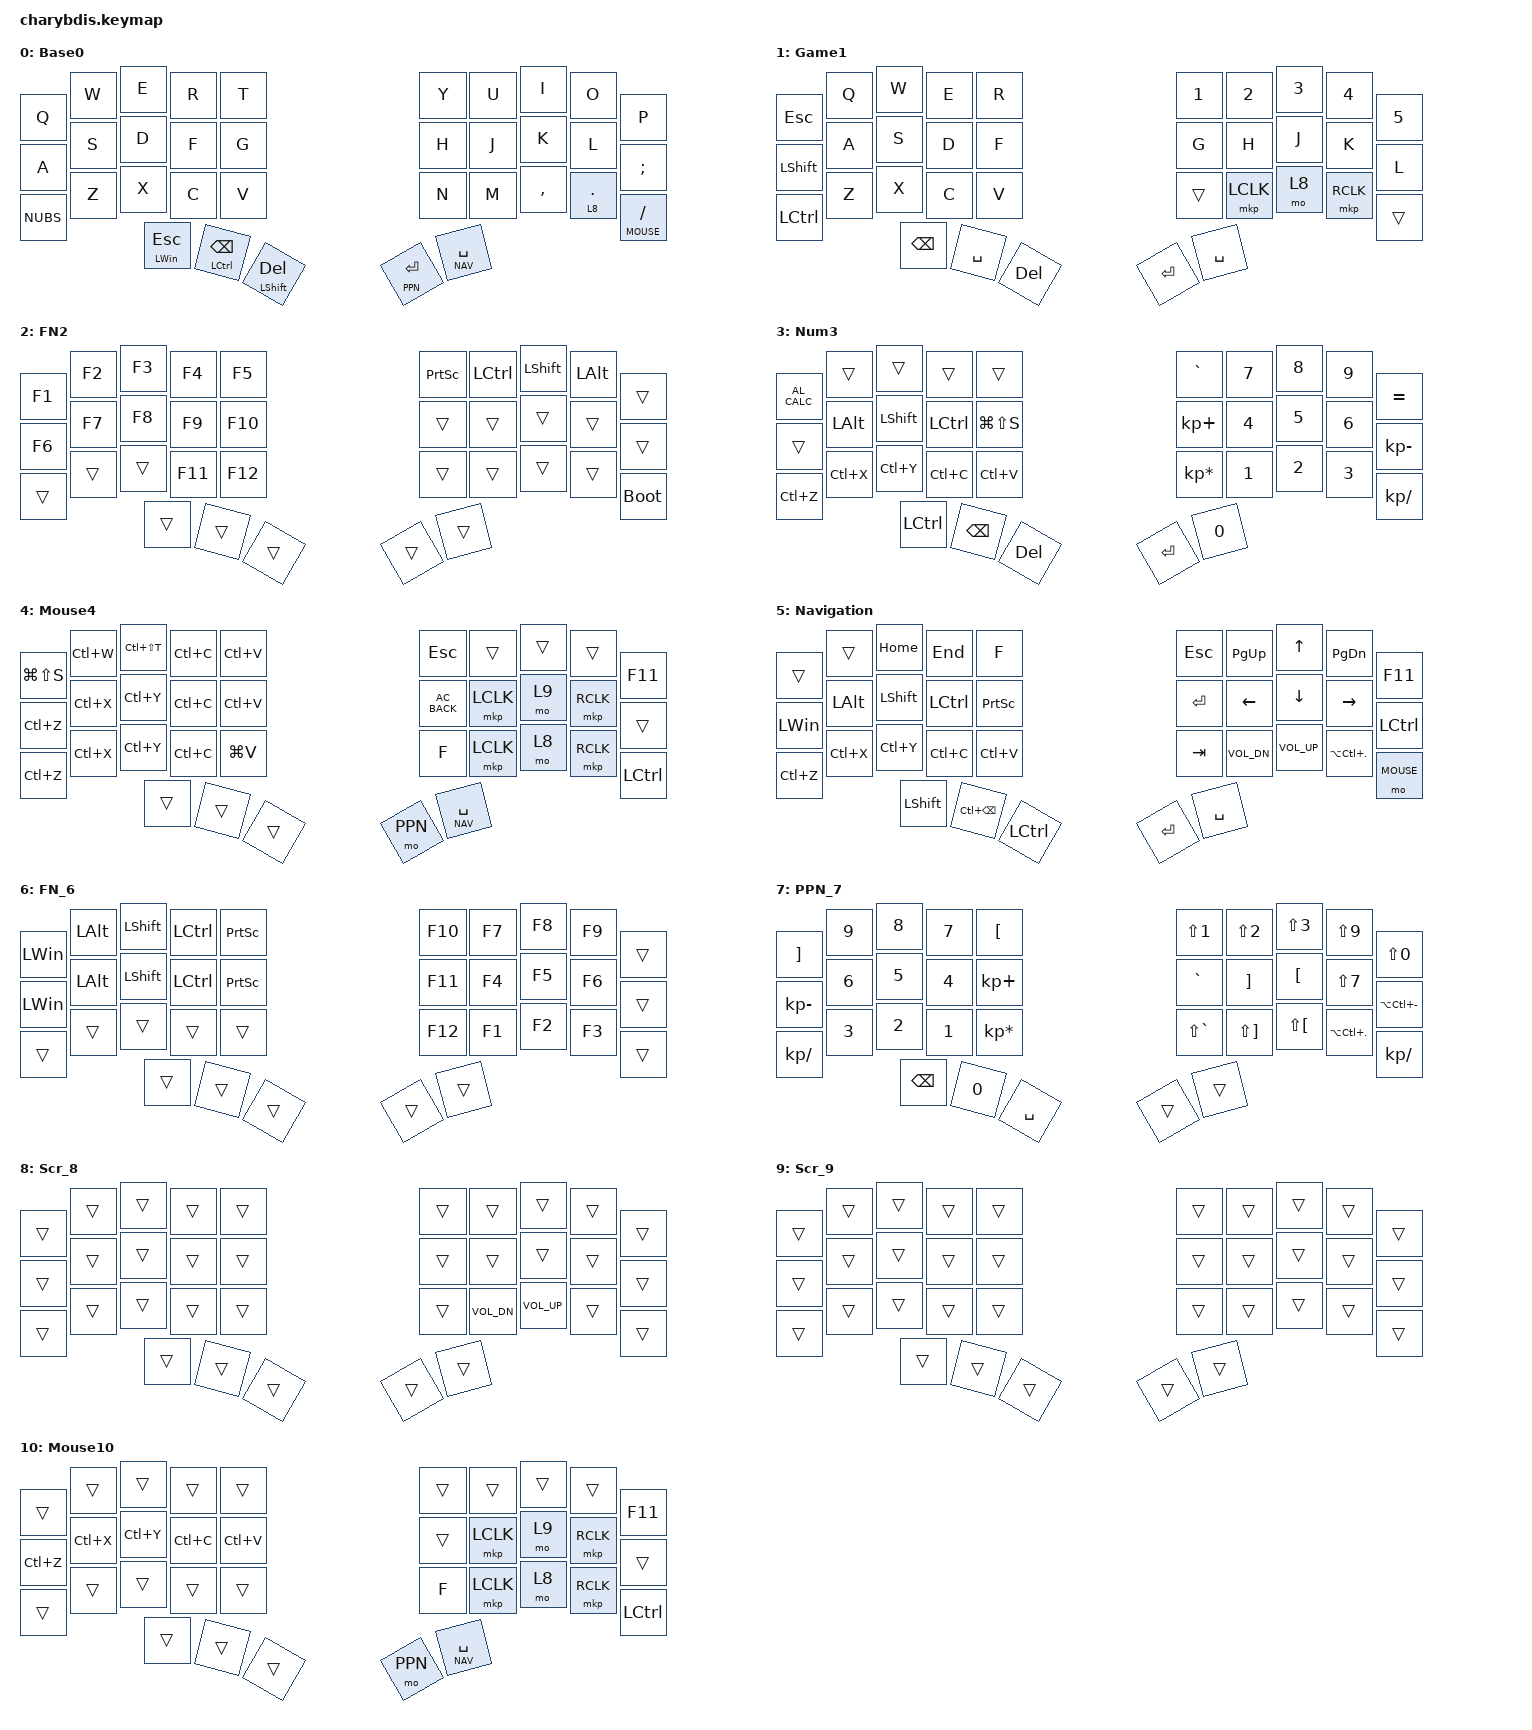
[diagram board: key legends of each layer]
#include <behaviors.dtsi>  
#include <dt-bindings/zmk/keys.h>
#include <dt-bindings/zmk/pointing.h>

#define BASE  0
#define GAME  1
#define FN    2
#define NUM   3
#define MOUSE 4
#define NAV   5
#define PPN   7

#define KEYS_L 0 1 2 3 4 10 11 12 13 14 20 21 22 23 24  
#define KEYS_R 5 6 7 8 9 15 16 17 18 19 25 26 27 28 29
#define THUMBS 30 31 32 33 34 35  

&sk {
  release-after-ms = <600>;
  quick-release;
};

&sl {
  ignore-modifiers;
};

&mt {
  flavor = "tap-preferred";
};

&lt {
  flavor = "balanced";
  tapping-term-ms = <200>;
  quick-tap-ms = <175>;
};

&caps_word {
  /delete-property/ ignore-modifiers;
};

/ {
  behaviors {
    hml: hml {
      compatible = "zmk,behavior-hold-tap";
      #binding-cells = <2>;
      flavor = "balanced";
      tapping-term-ms = <2000>;
      quick-tap-ms = <175>;
      require-prior-idle-ms = <250>;
      hold-trigger-key-positions = <KEYS_R THUMBS>;
      hold-trigger-on-release;
      bindings =
        <&kp>,
        <&kp>;
    };

    hmr: hmr {
      compatible = "zmk,behavior-hold-tap";
      #binding-cells = <2>;
      flavor = "balanced";
      tapping-term-ms = <2000>;
      quick-tap-ms = <175>;
      require-prior-idle-ms = <250>;
      hold-trigger-key-positions = <KEYS_L THUMBS>;
      hold-trigger-on-release;
      bindings =
        <&kp>,
        <&kp>;
    };
    hml_s: hml_s {
      compatible = "zmk,behavior-hold-tap";
      #binding-cells = <2>;
      flavor = "balanced";
      tapping-term-ms = <2000>;
      quick-tap-ms = <175>;
      require-prior-idle-ms = <0>;
      hold-trigger-key-positions = <KEYS_R THUMBS>;
      hold-trigger-on-release;
      bindings =
        <&kp>,
        <&kp>;
    };

    hmr_s: hmr_s {
      compatible = "zmk,behavior-hold-tap";
      #binding-cells = <2>;
      flavor = "balanced";
      tapping-term-ms = <2000>;
      quick-tap-ms = <175>;
      require-prior-idle-ms = <0>;
      hold-trigger-key-positions = <KEYS_L THUMBS>;
      hold-trigger-on-release;
      bindings =
        <&kp>,
        <&kp>;
    };


    smart_shift: smart_shift {
      compatible = "zmk,behavior-mod-morph";
      #binding-cells = <0>;
      bindings = <&sk LSHIFT>, <&caps_word>;
      mods = <(MOD_LSFT)>;
    };
  };

  combos {
    compatible = "zmk,combos";
    timeout-ms = <20>;
    require-prior-idle-ms = <250>;

   
    combo_normal {
      key-positions = <6 7 8>;
      bindings = <&to BASE>;
    };
    combo_normalleft {
      key-positions = <1 2 3>;
      bindings = <&to BASE>;
    };
    combo_unlock {
      key-positions = <0 4>;
      bindings = <&studio_unlock>;
    };
        screenshot {
        bindings = <&kp LG(LS(S))>;
        key-positions = <3 4>;
        };

        eng {
            bindings = <&kp F16>;
            key-positions = <13 14>;
        };

        rus {
            bindings = <&kp F17>;
            key-positions = <15 16>;
        };

        ParaLeft {
            bindings = <&kp LS(N9)>;
            key-positions = <23 24>;
        };

        greatt {
            bindings = <&kp LC(LA(P))>;
            key-positions = <25 26>;
        };

        circumflex {
            bindings = <&kp LS(N6)>;
            key-positions = <5 6>;
        };

        bootloaderRight {
            bindings = <&bootloader>;
            key-positions = <9 18 27>;
        };

        bootloaderLeft {
            bindings = <&bootloader>;
            key-positions = <0 11 22>;
        };

        gomouse {
            bindings = <&tog MOUSE>;
            key-positions = <15 26>;
        };

        game {
            bindings = <&tog 1>;
            key-positions = <18 29>;
        };
        
        gameleft {
            bindings = <&tog 1>;
            key-positions = <0 24>;
        };
        GoNav {
            bindings = <&tog 5>;
            key-positions = <5 16>;
        };
        GoScroll {
            bindings = <&tog 8>;
            key-positions = <16 25>;
        };
        GoNumPPN {
            bindings = <&tog PPN>;
            key-positions = <1 2 4>;
        };
        fullscree {
            bindings = <&kp F11>;
            key-positions = <6 15>;
        };
        fullscreenLeft {
            bindings = <&kp F11>;
            key-positions = <3 14>;
        };
  };
  chosen {
    zmk,physical-layout = &charybdis_5col_layout;
  };

  keymap {
    compatible = "zmk,keymap";

   Base {
            display-name = "Base0";
            bindings = <
            // ╭─────────────┬─────────────┬─────────────┬─────────────┬─────────────╮Bse╭─────────────┬─────────────┬─────────────┬─────────────┬─────────────╮
                    &kp Q         &kp W         &kp E         &kp R         &kp T             &kp Y         &kp U         &kp I         &kp O         &kp P
            // ├─────────────┼─────────────┼─────────────┼─────────────┼─────────────┤ 0 ├─────────────┼─────────────┼─────────────┼─────────────┼─────────────┤
                    &kp A         &kp S         &kp D         &kp F         &kp G             &kp H         &kp J         &kp K         &kp L        &kp SEMI
            // ├─────────────┼─────────────┼─────────────┼─────────────┼─────────────┤Bse├─────────────┼─────────────┼─────────────┼─────────────┼─────────────┤
                   &kp NUBS       &kp Z         &kp X         &kp C         &kp V             &kp N         &kp M       &kp COMMA     &lt 8 DOT   &lt MOUSE FSLH
            // ╰─────────────┴─────────────┼─────────────┼─────────────┼─────────────┤ 0 ├─────────────┼─────────────┼─────────────┴─────────────┴─────────────╯
                                            &mt LWIN ESC &mt LCTRL BSPC &mt LSHFT DEL      &lt PPN RET  &lt NAV SPACE
            //                             ╰─────────────┴─────────────┴─────────────╯Bse╰─────────────┴─────────────╯

            >;
    };

    
        Game {
            display-name = "Game1";
            bindings = <
            // ╭─────────────┬─────────────┬─────────────┬─────────────┬─────────────╮Gam╭─────────────┬─────────────┬─────────────┬─────────────┬─────────────╮
                   &kp ESC        &kp Q         &kp W         &kp E         &kp R             &kp N1        &kp N2        &kp N3        &kp N4        &kp N5
            // ├─────────────┼─────────────┼─────────────┼─────────────┼─────────────┤ 1 ├─────────────┼─────────────┼─────────────┼─────────────┼─────────────┤
                  &kp LSHFT       &kp A         &kp S         &kp D         &kp F             &kp G         &kp H         &kp J         &kp K         &kp L
            // ├─────────────┼─────────────┼─────────────┼─────────────┼─────────────┤Gam├─────────────┼─────────────┼─────────────┼─────────────┼─────────────┤
                  &kp LCTRL       &kp Z         &kp X         &kp C         &kp V             &trans      &mkp LCLK       &mo 8       &mkp RCLK       &trans
            // ╰─────────────┴─────────────┼─────────────┼─────────────┼─────────────┤ 1 ├─────────────┼─────────────┼─────────────┴─────────────┴─────────────╯
                                               &kp BSPC     &kp SPACE      &kp DEL           &kp RET      &kp SPACE
            //                             ╰─────────────┴─────────────┴─────────────╯Gam╰─────────────┴─────────────╯
            >;
        };

        FN {
            display-name = "FN2";
            bindings = <
            // ╭─────────────┬─────────────┬─────────────┬─────────────┬─────────────╮F11╭─────────────┬─────────────┬─────────────┬─────────────┬─────────────╮
                    &kp F1        &kp F2        &kp F3        &kp F4        &kp F5          &kp PSCRN     &kp LCTRL     &kp LSHFT      &kp LALT       &trans
            // ├─────────────┼─────────────┼─────────────┼─────────────┼─────────────┤ 2 ├─────────────┼─────────────┼─────────────┼─────────────┼─────────────┤
                    &kp F6        &kp F7        &kp F8        &kp F9       &kp F10            &trans        &trans        &trans        &trans        &trans
            // ├─────────────┼─────────────┼─────────────┼─────────────┼─────────────┤F11├─────────────┼─────────────┼─────────────┼─────────────┼─────────────┤
                    &trans        &trans        &trans       &kp F11       &kp F12            &trans        &trans        &trans        &trans     &bootloader      
            // ╰─────────────┴─────────────┼─────────────┼─────────────┼─────────────┤ 2 ├─────────────┼─────────────┼─────────────┴─────────────┴─────────────╯
                                                &trans        &trans        &trans            &trans        &trans    
            //                             ╰─────────────┴─────────────┴─────────────╯F11╰─────────────┴─────────────╯
            >;
        };

        Num {
            display-name = "Num3";
            bindings = <
            // ╭─────────────┬─────────────┬─────────────┬─────────────┬─────────────╮Num╭─────────────┬─────────────┬─────────────┬─────────────┬─────────────╮
                &kp C_AL_CALC     &trans        &trans        &trans        &trans          &kp GRAVE       &kp N7        &kp N8        &kp N9      &kp EQUAL
            // ├─────────────┼─────────────┼─────────────┼─────────────┼─────────────┤ 3 ├─────────────┼─────────────┼─────────────┼─────────────┼─────────────┤
                    &trans       &kp LALT     &kp LSHFT     &kp LCTRL   &kp LG(LS(S))      &kp KP_PLUS      &kp N4        &kp N5        &kp N6    &kp KP_MINUS
            // ├─────────────┼─────────────┼─────────────┼─────────────┼─────────────┤Num├─────────────┼─────────────┼─────────────┼─────────────┼─────────────┤
                  &kp LC(Z)     &kp LC(X)     &kp LC(Y)     &kp LC(C)     &kp LC(V)      &kp KP_MULTIPLY    &kp N1        &kp N2        &kp N3    &kp KP_SLASH
            // ╰─────────────┴─────────────┼─────────────┼─────────────┼─────────────┤ 3 ├─────────────┼─────────────┼─────────────┴─────────────┴─────────────╯
                                              &kp LCTRL      &kp BSPC      &kp DEL           &kp RET        &kp N0
            //                             ╰─────────────┴─────────────┴─────────────╯Num╰─────────────┴─────────────╯
            >;
        };

        Mouse {
            display-name = "Mouse4";
            bindings = <
            // ╭─────────────┬─────────────┬─────────────┬─────────────┬─────────────╮Mse╭─────────────┬─────────────┬─────────────┬─────────────┬─────────────╮
                &kp LG(LS(S))   &kp LC(W)   &kp LC(LS(T))   &kp LC(C)     &kp LC(V)          &kp ESC        &trans        &trans        &trans       &kp F11
            // ├─────────────┼─────────────┼─────────────┼─────────────┼─────────────┤ 4 ├─────────────┼─────────────┼─────────────┼─────────────┼─────────────┤
                  &kp LC(Z)     &kp LC(X)     &kp LC(Y)     &kp LC(C)     &kp LC(V)       &kp C_AC_BACK   &mkp LCLK       &mo 9       &mkp RCLK       &trans
            // ├─────────────┼─────────────┼─────────────┼─────────────┼─────────────┤Mse├─────────────┼─────────────┼─────────────┼─────────────┼─────────────┤
                  &kp LC(Z)     &kp LC(X)     &kp LC(Y)     &kp LC(C)     &kp LG(V)           &kp F       &mkp LCLK       &mo 8       &mkp RCLK     &kp LCTRL
            // ╰─────────────┴─────────────┼─────────────┼─────────────┼─────────────┤ 4 ├─────────────┼─────────────┼─────────────┴─────────────┴─────────────╯
                                                &trans        &trans        &trans           &mo PPN    &lt NAV SPACE
            //                             ╰─────────────┴─────────────┴─────────────╯Mse╰─────────────┴─────────────╯
            >;
        };

        Navigation {
            display-name = "Navigation";
            bindings = <
            // ╭─────────────┬─────────────┬─────────────┬─────────────┬─────────────╮Nav╭─────────────┬─────────────┬─────────────┬─────────────┬─────────────╮
                    &trans        &trans       &kp HOME      &kp END        &kp F            &kp ESC      &kp PG_UP       &kp UP      &kp PG_DN      &kp F11
            // ├─────────────┼─────────────┼─────────────┼─────────────┼─────────────┤ 5 ├─────────────┼─────────────┼─────────────┼─────────────┼─────────────┤
                   &kp LWIN      &kp LALT     &kp LSHFT     &kp LCTRL     &kp PSCRN          &kp RET      &kp LEFT       &kp DOWN     &kp RIGHT     &kp LCTRL
            // ├─────────────┼─────────────┼─────────────┼─────────────┼─────────────┤Nav├─────────────┼─────────────┼─────────────┼─────────────┼─────────────┤
                  &kp LC(Z)     &kp LC(X)     &kp LC(Y)     &kp LC(C)     &kp LC(V)          &kp TAB    &kp C_VOL_DN  &kp C_VOL_UP  &kp LA(LC(DOT)) &mo MOUSE
            // ╰─────────────┴─────────────┼─────────────┼─────────────┼─────────────┤ 5 ├─────────────┼─────────────┼─────────────┴─────────────┴─────────────╯
                                              &kp LSHFT    &kp LC(BSPC)   &kp LCTRL          &kp RET      &kp SPACE 
            //                             ╰─────────────┴─────────────┴─────────────╯Nav╰─────────────┴─────────────╯
            >;
        };

        FNN {
            display-name = "FN_6";
            bindings = <
            // ╭─────────────┬─────────────┬─────────────┬─────────────┬─────────────╮F12╭─────────────┬─────────────┬─────────────┬─────────────┬─────────────╮
                   &kp LWIN     &kp LALT      &kp LSHFT     &kp LCTRL     &kp PSCRN          &kp F10        &kp F7        &kp F8        &kp F9        &trans
            // ├─────────────┼─────────────┼─────────────┼─────────────┼─────────────┤ 6 ├─────────────┼─────────────┼─────────────┼─────────────┼─────────────┤
                   &kp LWIN     &kp LALT      &kp LSHFT     &kp LCTRL     &kp PSCRN          &kp F11        &kp F4        &kp F5        &kp F6        &trans
            // ├─────────────┼─────────────┼─────────────┼─────────────┼─────────────┤F12├─────────────┼─────────────┼─────────────┼─────────────┼─────────────┤
                    &trans        &trans        &trans        &trans        &trans           &kp F12        &kp F1        &kp F2        &kp F3        &trans
            // ╰─────────────┴─────────────┼─────────────┼─────────────┼─────────────┤ 6 ├─────────────┼─────────────┼─────────────┴─────────────┴─────────────╯
                                                &trans        &trans        &trans            &trans        &trans
            //                             ╰─────────────┴─────────────┴─────────────╯F12╰─────────────┴─────────────╯
            >;
        };

        PPN {
            display-name = "PPN_7";
            bindings = <
            // ╭─────────────┬─────────────┬─────────────┬─────────────┬─────────────╮PPN╭─────────────┬─────────────┬─────────────┬─────────────┬─────────────╮
                   &kp RBKT       &kp N9        &kp N8        &kp N7       &kp LBKT         &kp LS(N1)    &kp LS(N2)    &kp LS(N3)    &kp LS(N9)    &kp LS(N0)
            // ├─────────────┼─────────────┼─────────────┼─────────────┼─────────────┤ 7 ├─────────────┼─────────────┼─────────────┼─────────────┼─────────────┤
                 &kp KP_MINUS     &kp N6        &kp N5        &kp N4     &kp KP_PLUS        &kp GRAVE      &kp RBKT      &kp LBKT    &kp LS(N7) &kp LA(LC(MINUS))
            // ├─────────────┼─────────────┼─────────────┼─────────────┼─────────────┤PPN├─────────────┼─────────────┼─────────────┼─────────────┼─────────────┤
                 &kp KP_SLASH     &kp N3        &kp N2        &kp N1   &kp KP_MULTIPLY    &kp LS(GRAVE)  &kp LS(RBKT)  &kp LS(LBKT) &kp LA(LC(DOT)) &kp KP_SLASH   
            // ╰─────────────┴─────────────┼─────────────┼─────────────┼─────────────┤ 7 ├─────────────┼─────────────┼─────────────┴─────────────┴─────────────╯
                                               &kp BSPC       &kp N0       &kp SPACE          &trans        &trans
            //                             ╰─────────────┴─────────────┴─────────────╯PPN╰─────────────┴─────────────╯
            >;
        };

        Scr {
            display-name = "Scr_8";
            bindings = <
            // ╭─────────────┬─────────────┬─────────────┬─────────────┬─────────────╮Scr╭─────────────┬─────────────┬─────────────┬─────────────┬─────────────╮
                    &trans        &trans        &trans        &trans        &trans            &trans        &trans        &trans        &trans        &trans
            // ├─────────────┼─────────────┼─────────────┼─────────────┼─────────────┤ 8 ├─────────────┼─────────────┼─────────────┼─────────────┼─────────────┤
                    &trans        &trans        &trans        &trans        &trans            &trans        &trans        &trans        &trans        &trans
            // ├─────────────┼─────────────┼─────────────┼─────────────┼─────────────┤Scr├─────────────┼─────────────┼─────────────┼─────────────┼─────────────┤
                    &trans        &trans        &trans        &trans        &trans            &trans    &kp C_VOL_DN  &kp C_VOL_UP      &trans        &trans
            // ╰─────────────┴─────────────┼─────────────┼─────────────┼─────────────┤ 8 ├─────────────┼─────────────┼─────────────┴─────────────┴─────────────╯
                                                &trans        &trans        &trans            &trans        &trans
            //                             ╰─────────────┴─────────────┴─────────────╯Scr╰─────────────┴─────────────╯
            >;
        };

        Scrll {
            display-name = "Scr_9";
            bindings = <
            // ╭─────────────┬─────────────┬─────────────┬─────────────┬─────────────╮Scr╭─────────────┬─────────────┬─────────────┬─────────────┬─────────────╮
                    &trans        &trans        &trans        &trans        &trans            &trans        &trans        &trans        &trans        &trans
            // ├─────────────┼─────────────┼─────────────┼─────────────┼─────────────┤ 9 ├─────────────┼─────────────┼─────────────┼─────────────┼─────────────┤
                    &trans        &trans        &trans        &trans        &trans            &trans        &trans        &trans        &trans        &trans
            // ├─────────────┼─────────────┼─────────────┼─────────────┼─────────────┤Scr├─────────────┼─────────────┼─────────────┼─────────────┼─────────────┤
                    &trans        &trans        &trans        &trans        &trans            &trans        &trans        &trans        &trans        &trans
            // ╰─────────────┴─────────────┼─────────────┼─────────────┼─────────────┤ 9 ├─────────────┼─────────────┼─────────────┴─────────────┴─────────────╯
                                                &trans        &trans        &trans            &trans        &trans
            //                             ╰─────────────┴─────────────┴─────────────╯Scr╰─────────────┴─────────────╯
            >;
        };
        
        Mouse10 {
            display-name = "Mouse10";
            bindings = <
            // ╭─────────────┬─────────────┬─────────────┬─────────────┬─────────────╮Mse╭─────────────┬─────────────┬─────────────┬─────────────┬─────────────╮
                    &trans        &trans        &trans        &trans        &trans            &trans        &trans        &trans        &trans       &kp F11
            // ├─────────────┼─────────────┼─────────────┼─────────────┼─────────────┤10 ├─────────────┼─────────────┼─────────────┼─────────────┼─────────────┤
                  &kp LC(Z)     &kp LC(X)     &kp LC(Y)     &kp LC(C)     &kp LC(V)           &trans      &mkp LCLK       &mo 9       &mkp RCLK       &trans
            // ├─────────────┼─────────────┼─────────────┼─────────────┼─────────────┤Mse├─────────────┼─────────────┼─────────────┼─────────────┼─────────────┤
                    &trans        &trans        &trans        &trans        &trans             &kp F      &mkp LCLK       &mo 8       &mkp RCLK     &kp LCTRL
            // ╰─────────────┴─────────────┼─────────────┼─────────────┼─────────────┤10 ├─────────────┼─────────────┼─────────────┴─────────────┴─────────────╯
                                                &trans        &trans        &trans           &mo PPN    &lt NAV SPACE
            //                             ╰─────────────┴─────────────┴─────────────╯Mse╰─────────────┴─────────────╯
            >;
        };
    };
};
